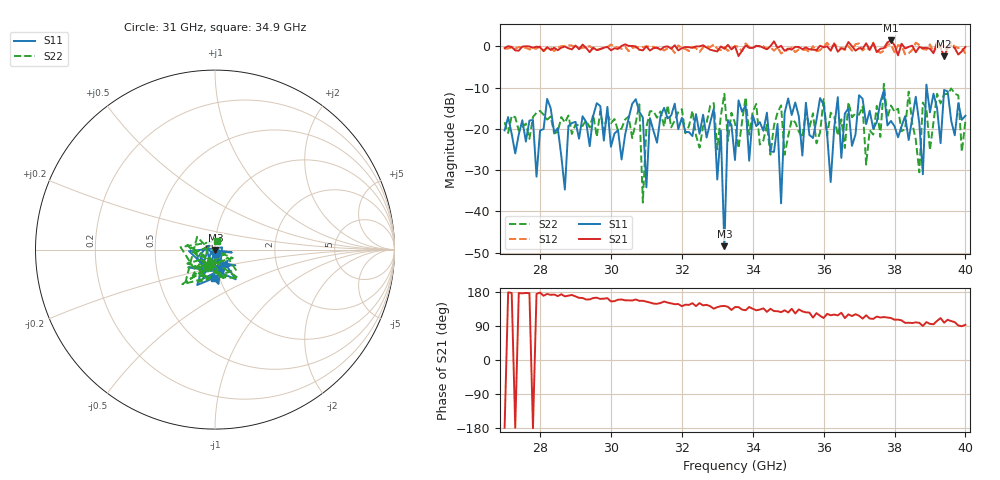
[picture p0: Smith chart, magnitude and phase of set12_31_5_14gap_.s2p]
! Quiescent point : V1=-1.62488E-02 I1=+1.31091E-03 V2=-2.26468E-02 I2=-1.30280E-03
! Pulsed point : V1=-1.68574E-02 I1=+1.29097E-03 V2=-2.25594E-02 I2=-1.28256E-03
! Period : +2.00000E-04
! Input Supply timing : delay=+1.60000E-06 width=+2.20000E-06
! Output Supply timing : delay=+1.70000E-06 width=+2.00000E-06
! VNA timing : delay=+2.40000E-06 width=+1.10000E-06
# Hz S RI R 50
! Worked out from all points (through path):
!   131 points, 27 GHz to 40 GHz, reference 50 ohm
!   highest |S21| = 1.40 dB at 37.9 GHz (marker M1); lowest = -2.4 dB at 39.4 GHz (marker M2)
!   group delay of S21, straight-line fit = 18.5 ps
!   lowest |S11| = -48.4 dB at 33.2 GHz (marker M3), VSWR 1.01, Z = 50.2 - j0.288 ohm
!   |S11| at or under -10 dB: start of sweep to 38.9 GHz; 38.91 GHz to end of sweep
!   |S22| runs from -37.8 to -9.1 dB; largest |S21 - S12| = 0.37
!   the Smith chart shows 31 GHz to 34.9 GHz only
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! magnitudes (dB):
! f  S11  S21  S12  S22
! 27 GHz  -20.4  -0.5  -0.6  -18.4
! 27.9 GHz  -31.6  -0.1  -0.6  -16.1
! 28.2 GHz  -12.7  -0.2  -0.5  -17.8
! 28.7 GHz  -34.7  -0.1  0.0  -18.5
! 29.2 GHz  -17.0  0.4  -0.4  -19.3
! 30.8 GHz  -15.8  -0.8  -0.2  -14.0
! 30.9 GHz  -17.3  -1.0  -0.2  -37.8
! 31 GHz  -34.2  -0.1  0.0  -19.7
! 31.4 GHz  -16.9  -0.8  -0.4  -15.8
! 32.9 GHz  -15.1  -1.1  0.4  -13.8
! 33 GHz  -32.3  -1.3  -0.6  -25.0
! 33.1 GHz  -20.4  -0.1  -1.0  -16.9
! 33.2 GHz  -48.4  -0.6  -0.3  -11.5
! 33.3 GHz  -17.9  0.3  -1.1  -22.9
! 33.5 GHz  -27.5  0.0  0.1  -18.6
! 33.6 GHz  -13.1  -2.4  -0.2  -24.7
! 34.8 GHz  -38.0  0.1  -1.8  -14.3
! 35.7 GHz  -22.2  -0.8  0.0  -16.2
! 37.9 GHz  -18.1  1.4  0.4  -14.3
! 38.7 GHz  -18.7  -0.2  0.3  -30.5
! 39.4 GHz  -10.6  -2.4  0.0  -11.6
! 40 GHz  -16.8  -0.2  -1.8  -18.1
